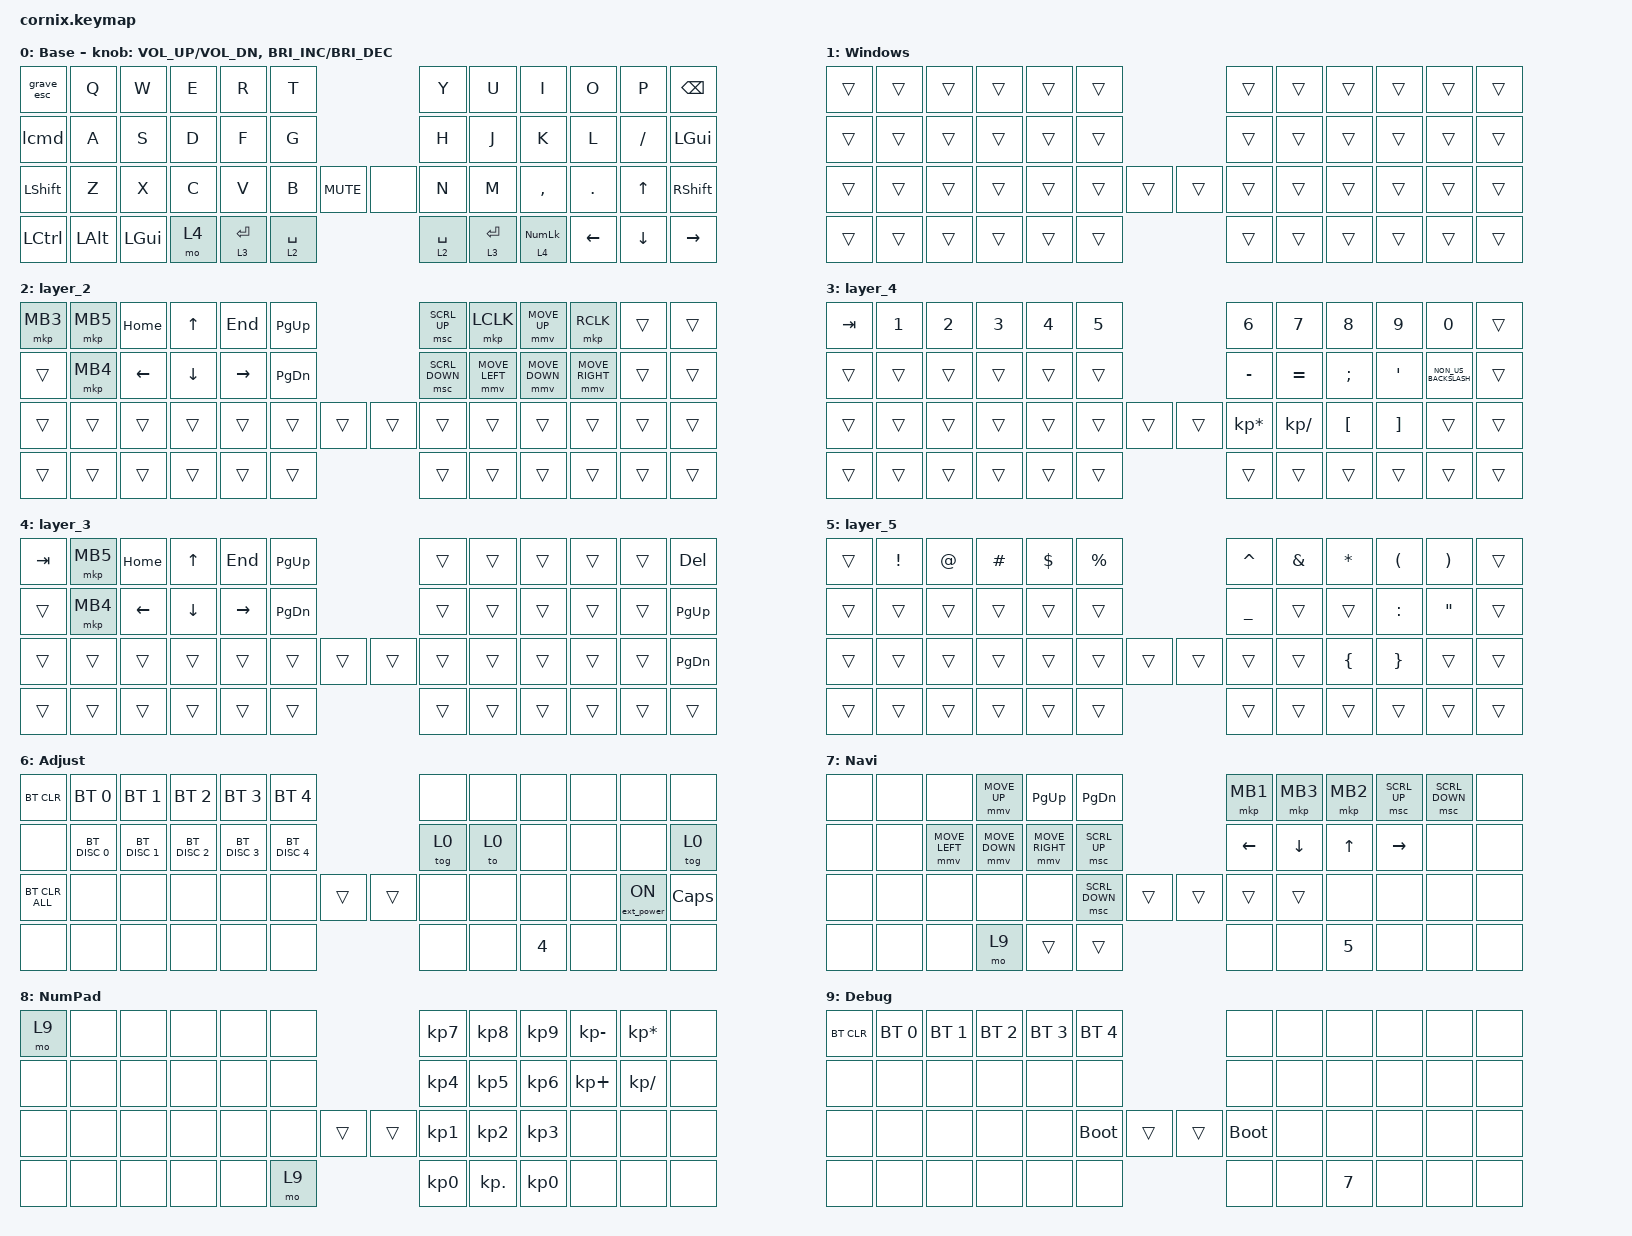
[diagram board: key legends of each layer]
/*
 * Copyright (c) 2020 The ZMK Contributors
 *
 * SPDX-License-Identifier: MIT
 */

#include "zmk-helpers/helper.h"
#include "includes/cornix54.h"

// tap windows for ctl alt and gui

#define HM_TAPPING_TERM 250
#define HM_TAPPING_REPEAT 210

// quick tapping for shift

#define HM_TAPPING_TERM_FAST 200
#define HM_PRIOR_IDLE 70
#define BASE 0
#define WIN 1
#define LOWER 2
#define RAISE 3
#define ADJUST 4
#define NAVI   5
#define NUM    6
#define DEBUG  7

// https://github.com/urob/zmk-config/tree/main#timeless-homerow-mods

#define KEYS_L LT0 LT1 LT2 LT3 LT4 LT5 LM0 LM1 LM2 LM3 LM4 LM5 LB0 LB1 LB2 LB3 LB4 LB5  // left hand
#define KEYS_R RT0 RT1 RT2 RT3 RT4 RT5 RM0 RM1 RM2 RM3 RM4 RM5 RB0 RB1 RB2 RB3 RB4 RB5  // right hand
#define THUMBS LH1 LH0 RH0 RH1
#define KEYS_T LH1 LH0 RH0 RH1
#define ZMK_POINTING_DEFAULT_SCRL_VAL 15

#include <behaviors.dtsi>
#include <dt-bindings/zmk/bt.h>
#include <dt-bindings/zmk/ext_power.h>
#include <dt-bindings/zmk/keys.h>
#include <dt-bindings/zmk/pointing.h>

&lt { tapping-term-ms = <100>; };

/ {
    // Activate ADJUST layer by pressing raise and lower

    behaviors {
        hm_l: homerow_mods_left {
            compatible = "zmk,behavior-hold-tap";
            #binding-cells = <2>;
            bindings = <&kp>, <&kp>;

            flavor = "balanced";
            tapping-term-ms = <HM_TAPPING_TERM>;
            quick-tap-ms = <200>;                // repeat on tap-into-hold
            require-prior-idle-ms = <HM_PRIOR_IDLE>;
            hold-trigger-key-positions = <KEYS_R KEYS_T>;
            hold-trigger-on-release;
        };

        hm_r: homerow_mods_right {
            compatible = "zmk,behavior-hold-tap";
            #binding-cells = <2>;
            bindings = <&kp>, <&kp>;

            flavor = "balanced";
            tapping-term-ms = <HM_TAPPING_TERM>;
            quick-tap-ms = <200>;
            require-prior-idle-ms = <HM_PRIOR_IDLE>;
            hold-trigger-key-positions = <KEYS_L KEYS_T>;
            hold-trigger-on-release;
        };

        // Positional Homerow mods for shift
        // Use faster tapping term and disable some features that may
        // cause false negatives.

        hm_shift_l: hm_shift_l {
            compatible = "zmk,behavior-hold-tap";
            #binding-cells = <2>;
            bindings = <&kp>, <&kp>;

            //flavor = "balanced";

            flavor = "balanced";
            tapping-term-ms = <HM_TAPPING_TERM_FAST>;
            quick-tap-ms = <200>;
            require-prior-idle-ms = <HM_PRIOR_IDLE>;
            hold-trigger-key-positions = <KEYS_R KEYS_T>;
            hold-trigger-on-release;
        };

        hm_shift_r: hm_shift_r {
            compatible = "zmk,behavior-hold-tap";
            #binding-cells = <2>;
            bindings = <&kp>, <&kp>;

            flavor = "balanced";
            tapping-term-ms = <HM_TAPPING_TERM_FAST>;
            quick-tap-ms = <200>;
            require-prior-idle-ms = <HM_PRIOR_IDLE>;
            hold-trigger-key-positions = <KEYS_L KEYS_T>;

            // for quick tapping; shift+~

            hold-trigger-on-release;
        };

        /*
         * Non-Positional Homerow Mods
         * Used for &mm_grescm_gui behavior on left hand.
         *
         * Usage: &hm LSHFT T
         * Tap: T
         * Tap-Tap-Hold: Repeat T
         * Hold: LSHIFT
         */

        hm: homerow_mods {
            compatible = "zmk,behavior-hold-tap";
            #binding-cells = <2>;
            bindings = <&kp>, <&kp>;

            flavor = "balanced";
            tapping-term-ms = <HM_TAPPING_TERM>;
            quick-tap-ms = <200>;
        };

        lt: layer_tap {
            compatible = "zmk,behavior-hold-tap";
            #binding-cells = <2>;
            bindings = <&mo>, <&kp>;

            flavor = "hold-preferred";
            tapping-term-ms = <HM_TAPPING_TERM>;
            quick-tap-ms = <200>;
        };

        up_question: up_question {
            compatible = "zmk,behavior-mod-morph";
            label = "UP_QUESTION";
            bindings = <&kp UP>, <&kp QUESTION>;

            #binding-cells = <0>;
            mods = <(MOD_RSFT)>;
        };

        grave_esc: grave_esc {
            compatible = "zmk,behavior-mod-morph";
            label = "GRAVE_ESC";
            bindings = <&kp ESC>, <&kp TILDE>;

            #binding-cells = <0>;
            mods = <(MOD_LSFT)>;
        };

        lcmd: lcmd {
            compatible = "zmk,behavior-tap-dance";
            label = "LCMD";
            #binding-cells = <0>;
            bindings = <&kp LEFT_GUI>, <&kp LS(LEFT_GUI)>;
        };
    };

    conditional_layers {
        compatible = "zmk,conditional-layers";

        adjust_layer {
            if-layers = <6 3>;
            then-layer = <6>;
        };
    };

    combos {
        compatible = "zmk,combos";

        cb_ltm {
            bindings = <&kp ESC>;
            key-positions = <2 4>;
            layers = <0>;
        };

        cb_lm {
            bindings = <&kp TAB>;
            key-positions = <14 16>;
            layers = <0>;
        };

        cb_enter {
            bindings = <&kp RET>;
            key-positions = <21 19>;
            layers = <0>;
        };

        layer3 {
            bindings = <&kp N3>;
            key-positions = <5 6>;
        };

        layer4 {
            bindings = <&kp N4>;
            key-positions = <5 6>;
        };
    };

    keymap {
        compatible = "zmk,keymap";

        default_layer {
            display-name = "Base";

            // ------------------------------------------------------------------------------------------------------------
            // |   `   |  1  |  2  |  3   |  4   |  5   |                   |  6   |  7    |  8    |  9   |   0   |       |
            // |  ESC  |  Q  |  W  |  E   |  R   |  T   |                   |  Y   |  U    |  I    |  O   |   P   | BKSPC |
            // |  TAB  |  A  |  S  |  D   |  F   |  G   |                   |  H   |  J    |  K    |  L   |   ;   |   '   |
            // | SHIFT |  Z  |  X  |  C   |  V   |  B   |  MUTE  |  |       |  N   |  M    |  ,    |  .   |   /   | SHIFT |
            //               | GUI | ALT  | CTRL | LOWER|  ENTER |  | SPACE | RAISE| CTRL  | ALT   | GUI  |

            bindings = <
&grave_esc        &kp Q         &kp W         &kp E  &kp R        &kp T                           &kp Y        &kp U        &kp I             &kp O     &kp P         &kp BACKSPACE
&lcmd             &kp A         &kp S         &kp D  &kp F        &kp G                           &kp H        &kp J        &kp K             &kp L     &kp SLASH     &kp LEFT_GUI
&kp LEFT_SHIFT    &kp Z         &kp X         &kp C  &kp V        &kp B        &kp C_MUTE  &none  &kp N        &kp M        &kp COMMA         &kp DOT   &kp UP_ARROW  &kp RIGHT_SHIFT
&kp LEFT_CONTROL  &kp LEFT_ALT  &kp LEFT_GUI  &mo 4  &lt 3 ENTER  &lt 2 SPACE                     &lt 2 SPACE  &lt 3 ENTER  &lt 4 KP_NUMLOCK  &kp LEFT  &kp DOWN      &kp RIGHT
            >;

            sensor-bindings =
                <&inc_dec_kp C_VOL_UP C_VOL_DN>,
                <&inc_dec_kp C_BRIGHTNESS_INC C_BRIGHTNESS_DEC>;
        };

        Windows {
            bindings = <
&trans  &trans  &trans  &trans  &trans  &trans                  &trans  &trans  &trans  &trans  &trans  &trans
&trans  &trans  &trans  &trans  &trans  &trans                  &trans  &trans  &trans  &trans  &trans  &trans
&trans  &trans  &trans  &trans  &trans  &trans  &trans  &trans  &trans  &trans  &trans  &trans  &trans  &trans
&trans  &trans  &trans  &trans  &trans  &trans                  &trans  &trans  &trans  &trans  &trans  &trans
            >;
        };

        layer_2 {
            bindings = <
&mkp MB3  &mkp MB5  &kp HOME        &kp UP_ARROW    &kp END          &kp PAGE_UP                    &msc SCRL_UP    &mkp LCLK       &mmv MOVE_UP    &mkp RCLK        &trans  &trans
&trans    &mkp MB4  &kp LEFT_ARROW  &kp DOWN_ARROW  &kp RIGHT_ARROW  &kp PAGE_DOWN                  &msc SCRL_DOWN  &mmv MOVE_LEFT  &mmv MOVE_DOWN  &mmv MOVE_RIGHT  &trans  &trans
&trans    &trans    &trans          &trans          &trans           &trans         &trans  &trans  &trans          &trans          &trans          &trans           &trans  &trans
&trans    &trans    &trans          &trans          &trans           &trans                         &trans          &trans          &trans          &trans           &trans  &trans
            >;
        };

        layer_4 {
            bindings = <
&kp TAB  &kp NUMBER_1  &kp NUMBER_2  &kp NUMBER_3  &kp NUMBER_4  &kp NUMBER_5                  &kp NUMBER_6     &kp NUMBER_7   &kp NUMBER_8      &kp NUMBER_9       &kp NUMBER_0          &trans
&trans   &trans        &trans        &trans        &trans        &trans                        &kp MINUS        &kp EQUAL      &kp SEMICOLON     &kp SQT            &kp NON_US_BACKSLASH  &trans
&trans   &trans        &trans        &trans        &trans        &trans        &trans  &trans  &kp KP_ASTERISK  &kp KP_DIVIDE  &kp LEFT_BRACKET  &kp RIGHT_BRACKET  &trans                &trans
&trans   &trans        &trans        &trans        &trans        &trans                        &trans           &trans         &trans            &trans             &trans                &trans
            >;
        };

        layer_3 {
            bindings = <
&kp TAB  &mkp MB5  &kp HOME        &kp UP_ARROW    &kp END          &kp PAGE_UP                    &trans  &trans  &trans  &trans  &trans  &kp DELETE
&trans   &mkp MB4  &kp LEFT_ARROW  &kp DOWN_ARROW  &kp RIGHT_ARROW  &kp PAGE_DOWN                  &trans  &trans  &trans  &trans  &trans  &kp PAGE_UP
&trans   &trans    &trans          &trans          &trans           &trans         &trans  &trans  &trans  &trans  &trans  &trans  &trans  &kp PAGE_DOWN
&trans   &trans    &trans          &trans          &trans           &trans                         &trans  &trans  &trans  &trans  &trans  &trans
            >;
        };

        layer_5 {
            bindings = <
&trans  &kp EXCL  &kp AT  &kp HASH  &kp DLLR  &kp PRCNT                  &kp CARET       &kp AMPS  &kp STAR        &kp LPAR         &kp RPAR           &trans
&trans  &trans    &trans  &trans    &trans    &trans                     &kp UNDERSCORE  &trans    &trans          &kp COLON        &kp DOUBLE_QUOTES  &trans
&trans  &trans    &trans  &trans    &trans    &trans     &trans  &trans  &trans          &trans    &kp LEFT_BRACE  &kp RIGHT_BRACE  &trans             &trans
&trans  &trans    &trans  &trans    &trans    &trans                     &trans          &trans    &trans          &trans           &trans             &trans
            >;
        };

        Adjust_layer {
            display-name = "Adjust";

            // ----------------------------------------------------------------------------------------------------------------------------
            // | BTCLR  |  BT1    |  BT2    |   BT3   |   BT4   |   BT5   |                  |      |      |       |      |       |       |
            // | moDEBUG| RGB_HUD | RGB_HUI | RGB_SAD | RGB_SAI | RGB_EFF |                  |      |      |       |      |       |       |
            // | EXTPWR | RGB_BRD | RGB_BRI |         |         |         |                  |      |      |       |      |       |       |
            // |        |         |         |         |         |         | RGB_TOG | |      |      |      |       |      |       |       |
            //                    |         |         |         |         |         | |      |      |      |       |      |

            bindings = <
&bt BT_CLR      &bt BT_SEL 0   &bt BT_SEL 1   &bt BT_SEL 2   &bt BT_SEL 3   &bt BT_SEL 4                   &none   &none  &none   &none  &none             &none
&none           &bt BT_DISC 0  &bt BT_DISC 1  &bt BT_DISC 2  &bt BT_DISC 3  &bt BT_DISC 4                  &tog 0  &to 0  &none   &none  &none             &tog 0
&bt BT_CLR_ALL  &none          &none          &none          &none          &none          &trans  &trans  &none   &none  &none   &none  &ext_power EP_ON  &kp CAPSLOCK
&none           &none          &none          &none          &none          &none                          &none   &none  &kp N4  &none  &none             &none
            >;
        };

        Navi_layer {
            display-name = "Navi";
            bindings = <
&none  &none  &none           &mmv MOVE_UP    &kp PAGE_UP      &kp PAGE_DOWN                   &mkp MB1  &mkp MB3  &mkp MB2  &msc SCRL_UP  &msc SCRL_DOWN  &none
&none  &none  &mmv MOVE_LEFT  &mmv MOVE_DOWN  &mmv MOVE_RIGHT  &msc SCRL_UP                    &kp LEFT  &kp DOWN  &kp UP    &kp RIGHT     &none           &none
&none  &none  &none           &none           &none            &msc SCRL_DOWN  &trans  &trans  &trans    &trans    &none     &none         &none           &none
&none  &none  &none           &mo 9           &trans           &trans                          &none     &none     &kp N5    &none         &none           &none
            >;
        };

        KeyPad_layer {
            display-name = "NumPad";
            bindings = <
&mo 9  &none  &none  &none  &none  &none                  &kp KP_N7        &kp KP_N8        &kp KP_N9        &kp KP_MINUS  &kp KP_MULTIPLY  &none
&none  &none  &none  &none  &none  &none                  &kp KP_NUMBER_4  &kp KP_NUMBER_5  &kp KP_N6        &kp KP_PLUS   &kp KP_DIVIDE    &none
&none  &none  &none  &none  &none  &none  &trans  &trans  &kp KP_NUMBER_1  &kp KP_NUMBER_2  &kp KP_N3        &none         &none            &none
&none  &none  &none  &none  &none  &mo 9                  &kp KP_N0        &kp KP_DOT       &kp KP_NUMBER_0  &none         &none            &none
            >;
        };

        Debug_layer {
            display-name = "Debug";

            // ----------------------------------------------------------------------------------------------------------------------------
            // | BTCLR  |  BT1    |  BT2    |   BT3   |   BT4   |   BT5   |                  |      |      |       |      |       |       |
            // | EXTPWR | BTCLR | RGB_HUI | RGB_SAD | RGB_SAI | RGB_EFF |                  |      |      |       |      |       |       |
            // |        | RGB_BRD | RGB_BRI |         |         |         |                  |      |      |       |      |       |       |
            // |        |         |         |         |         |         | RGB_TOG | |      |      |      |       |      |       |       |
            //                    |         |         |         |         |         | |      |      |      |       |      |

            bindings = <
&bt BT_CLR  &bt BT_SEL 0  &bt BT_SEL 1  &bt BT_SEL 2  &bt BT_SEL 3  &bt BT_SEL 4                  &none        &none  &none   &none  &none  &none
&none       &none         &none         &none         &none         &none                         &none        &none  &none   &none  &none  &none
&none       &none         &none         &none         &none         &bootloader   &trans  &trans  &bootloader  &none  &none   &none  &none  &none
&none       &none         &none         &none         &none         &none                         &none        &none  &kp N7  &none  &none  &none
            >;
        };
    };
};
